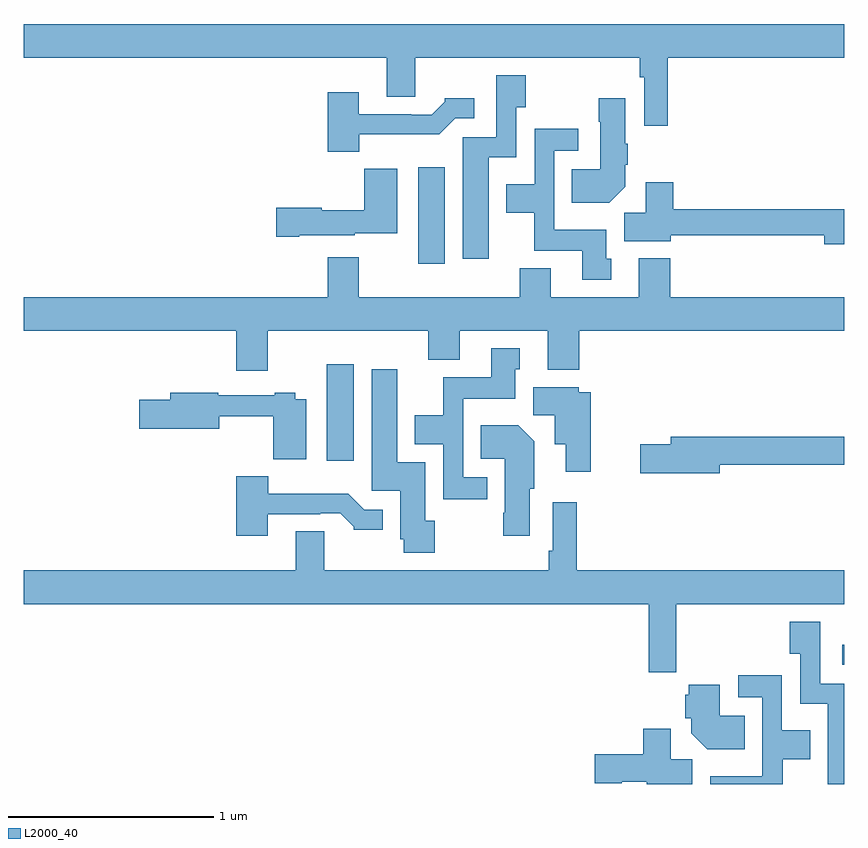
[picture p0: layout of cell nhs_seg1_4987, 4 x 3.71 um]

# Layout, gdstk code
import gdstk
lib = gdstk.Library(unit=1e-6, precision=1e-09)
def R(c, l, rs):  # rectangles x0, y0, x1, y1
    for r in rs: c.add(gdstk.rectangle(r[:2], r[2:], *l))
def P(c, l, *ps):  # polygons
    for p in ps: c.add(gdstk.Polygon(p, *l))
L2000_40 = (2000, 40)

nhs_seg1_4987 = lib.new_cell('nhs_seg1_4987')
R(nhs_seg1_4987, L2000_40, [(384.99,540.78,385,540.877), (382.478,541.776,382.609,542.245), (382.922,542.736,383.053,543.205)])
P(nhs_seg1_4987, L2000_40, [(381,543.74),(382.769,543.74),(382.769,543.55),(382.909,543.55),(382.909,543.74),(384.004,543.74),(384.004,543.644),(384.024,543.644),(384.024,543.408),(384.14,543.408),(384.14,543.74),(385,543.74),(385,543.904),(381,543.904)],
  [(383.266,543.254),(383.4,543.254),(383.4,543.499),(383.448,543.499),(383.448,543.655),(383.304,543.655),(383.304,543.351),(383.141,543.351),(383.141,542.76),(383.266,542.76)],
  [(382.636,543.366),(383.025,543.366),(383.103,543.444),(383.197,543.444),(383.197,543.541),(383.052,543.541),(383.052,543.526),(382.988,543.462),(382.889,543.462),(382.889,543.465),(382.633,543.465),(382.633,543.571),(382.481,543.571),(382.481,543.281),(382.636,543.281)],
  [(383.932,543.11),(383.932,543.217),(383.945,543.217),(383.945,543.32),(383.932,543.32),(383.932,543.541),(383.803,543.541),(383.803,543.428),(383.81,543.428),(383.81,543.196),(383.671,543.196),(383.671,543.032),(383.854,543.032)],
  [(383.863,542.76),(383.839,542.76),(383.839,542.902),(383.586,542.902),(383.586,543.285),(383.704,543.285),(383.704,543.394),(383.49,543.394),(383.49,543.124),(383.351,543.124),(383.351,542.984),(383.488,542.984),(383.488,542.798),(383.723,542.798),(383.723,542.658),(383.863,542.658)],
  [(382.342,542.873),(382.614,542.873),(382.614,542.885),(382.822,542.885),(382.822,543.199),(382.66,543.199),(382.66,542.995),(382.452,542.995),(382.452,543.008),(382.23,543.008),(382.23,542.866),(382.342,542.866)],
  [(385,543.002),(384.167,543.002),(384.167,543.133),(384.032,543.133),(384.032,542.984),(383.927,542.984),(383.927,542.846),(384.154,542.846),(384.154,542.874),(384.902,542.874),(384.902,542.831),(385,542.831)],
  [(382.189,542.408),(382.973,542.408),(382.973,542.267),(383.125,542.267),(383.125,542.408),(383.555,542.408),(383.555,542.219),(383.708,542.219),(383.708,542.408),(385,542.408),(385,542.572),(384.152,542.572),(384.152,542.761),(383.999,542.761),(383.999,542.572),(383.569,542.572),(383.569,542.713),(383.417,542.713),(383.417,542.572),(382.633,542.572),(382.633,542.767),(382.481,542.767),(382.481,542.572),(381,542.572),(381,542.408),(382.037,542.408),(382.037,542.214),(382.189,542.214)],
  [(383.26,541.695),(383.142,541.695),(383.142,542.078),(383.395,542.078),(383.395,542.22),(383.419,542.22),(383.419,542.323),(383.279,542.323),(383.279,542.182),(383.044,542.182),(383.044,541.996),(382.907,541.996),(382.907,541.856),(383.046,541.856),(383.046,541.587),(383.26,541.587)],
  [(383.004,541.482),(382.957,541.482),(382.957,541.768),(382.822,541.768),(382.822,542.221),(382.697,542.221),(382.697,541.629),(382.835,541.629),(382.835,541.392),(382.852,541.392),(382.852,541.326),(383.004,541.326)],
  [(383.764,542.11),(383.706,542.11),(383.706,542.134),(383.483,542.134),(383.483,541.996),(383.588,541.996),(383.588,541.856),(383.642,541.856),(383.642,541.722),(383.764,541.722)],
  [(382.378,542.074),(382.323,542.074),(382.323,542.107),(382.223,542.107),(382.223,542.094),(381.948,542.094),(381.948,542.107),(381.713,542.107),(381.713,542.073),(381.564,542.073),(381.564,541.931),(381.952,541.931),(381.952,541.993),(382.216,541.993),(382.216,541.781),(382.378,541.781)],
  [(383.467,541.638),(383.488,541.638),(383.488,541.87),(383.41,541.948),(383.227,541.948),(383.227,541.784),(383.345,541.784),(383.345,541.522),(383.338,541.522),(383.338,541.41),(383.467,541.41)],
  [(384.394,541.756),(385,541.756),(385,541.892),(384.155,541.892),(384.155,541.856),(384.006,541.856),(384.006,541.714),(384.394,541.714)],
  [(382.189,541.515),(382.445,541.515),(382.445,541.518),(382.544,541.518),(382.608,541.454),(382.608,541.439),(382.75,541.439),(382.75,541.536),(382.659,541.536),(382.581,541.615),(382.192,541.615),(382.192,541.699),(382.037,541.699),(382.037,541.41),(382.189,541.41)],
  [(384.182,541.076),(385,541.076),(385,541.24),(383.696,541.24),(383.696,541.573),(383.58,541.573),(383.58,541.336),(383.56,541.336),(383.56,541.24),(382.465,541.24),(382.465,541.43),(382.325,541.43),(382.325,541.24),(381,541.24),(381,541.076),(384.046,541.076),(384.046,540.744),(384.182,540.744)],
  [(385,540.687),(384.882,540.687),(384.882,540.991),(384.734,540.991),(384.734,540.835),(384.786,540.835),(384.786,540.59),(384.92,540.59),(384.92,540.199),(385,540.199)],
  [(384.699,540.32),(384.835,540.32),(384.835,540.46),(384.696,540.46),(384.696,540.73),(384.483,540.73),(384.483,540.621),(384.6,540.621),(384.6,540.238),(384.347,540.238),(384.347,540.199),(384.699,540.199)],
  [(384.515,540.532),(384.394,540.532),(384.394,540.682),(384.242,540.682),(384.242,540.633),(384.224,540.633),(384.224,540.519),(384.254,540.519),(384.254,540.446),(384.332,540.368),(384.515,540.368)],
  [(384.259,540.32),(384.154,540.32),(384.154,540.469),(384.02,540.469),(384.02,540.344),(383.784,540.344),(383.784,540.202),(383.916,540.202),(383.916,540.209),(384.036,540.209),(384.036,540.199),(384.259,540.199)])

lib.write_gds('nhs_seg1_4987.gds')
